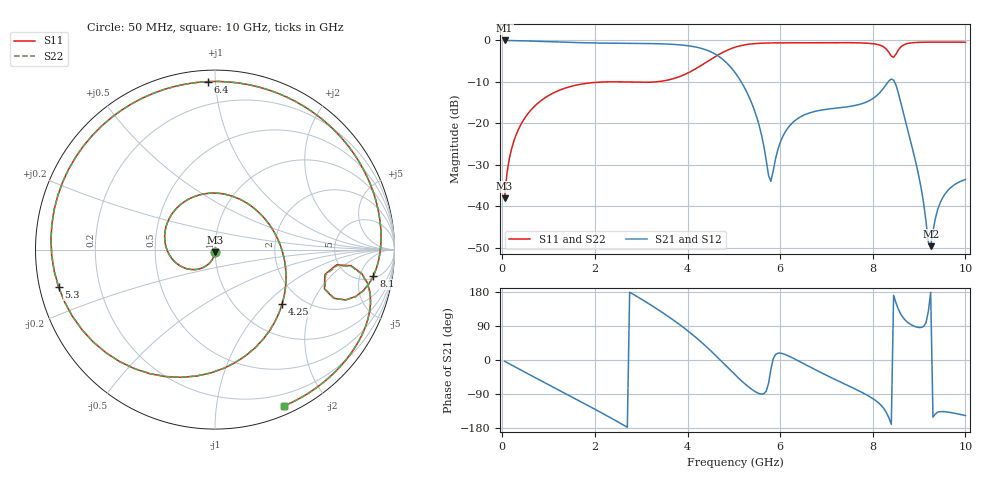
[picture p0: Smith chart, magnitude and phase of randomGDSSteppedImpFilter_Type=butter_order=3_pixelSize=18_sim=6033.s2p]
! freq	dB(S11)	phase(S11)	dB(S12)	phase(S12)
!  dB(S21)	phase(S21)	dB(S22)	phase(S22)
!S-par simulation data
#  GHz  S  DB  R 50
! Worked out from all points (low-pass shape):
!   200 points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, 50 MHz to 10 GHz, reference 50 ohm
!   highest |S21| = -0.01 dB at 50 MHz (marker M1); lowest = -49.6 dB at 9.25 GHz (marker M2)
!   |S21| within 3 dB of the highest: start of sweep to 4.55 GHz
!   lowest |S11| = -38.0 dB at 50 MHz (marker M3), VSWR 1.03, Z = 49.9 - j1.25 ohm
!   |S11| at or under -10 dB: start of sweep to 2.214 GHz; 2.58 GHz to 3.292 GHz (711.2 MHz wide, 24.2 % of centre)
!   |S22| runs from -38.0 to -0.4 dB; largest |S21 - S12| = 0
!   S11 on the Smith chart (normalised r, x): 50 MHz: 1.00, -0.03; 4.25 GHz: 1.58, -1.26; 5.3 GHz: 0.06, -0.12; 6.4 GHz: 0.06, +0.96; 8.1 GHz: 6, -8; 10 GHz: 0.08, -1.53
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0.05  -38.01 -92.4  -0.01 -3.4  -0.01 -3.4  -38.01 -92.4
0.2  -26.14 -103.1  -0.03 -13.3  -0.03 -13.3  -26.14 -103.1
0.5  -18.47 -123.3  -0.11 -32.9  -0.11 -32.9  -18.47 -123.3
1.15  -12.41 -165.6  -0.35 -75.0  -0.35 -75.0  -12.41 -165.6
1.75  -10.45 155.8  -0.56 -113.6  -0.56 -113.6  -10.45 155.8
2.65  -10.02 95.7  -0.69 -173.9  -0.69 -173.9  -10.02 95.6
3.4  -9.88 39.6  -0.81 130.0  -0.81 130.0  -9.88 39.6
4.25  -6.34 -39.1  -1.77 52.2  -1.77 52.2  -6.34 -39.2
4.6  -3.89 -79.7  -3.31 12.7  -3.31 12.7  -3.89 -79.8
5.05  -1.56 -136.5  -8.11 -41.8  -8.11 -41.8  -1.56 -136.6
5.3  -0.95 -166.6  -12.93 -69.2  -12.93 -69.2  -0.95 -166.7
5.8  -0.60 141.7  -33.96 -24.4  -33.96 -24.4  -0.60 141.6
6.4  -0.57 92.4  -18.68 -2.8  -18.68 -2.8  -0.57 92.3
6.7  -0.55 71.4  -17.25 -21.9  -17.25 -21.9  -0.55 71.3
7.4  -0.54 28.9  -16.07 -63.8  -16.07 -63.8  -0.54 28.8
8.1  -0.97 -9.4  -13.15 -110.6  -13.15 -110.6  -0.96 -9.4
8.35  -2.91 -22.3  -9.73 -153.1  -9.73 -153.1  -2.88 -22.2
8.55  -2.34 -6.8  -12.56 134.8  -12.56 134.8  -2.31 -7.0
8.85  -0.58 -24.4  -25.77 91.7  -25.77 91.7  -0.57 -24.6
9.25  -0.41 -41.6  -49.58 178.4  -49.58 178.4  -0.40 -41.7
9.5  -0.40 -50.5  -38.10 -136.1  -38.10 -136.1  -0.40 -50.6
10  -0.43 -66.2  -33.51 -146.6  -33.51 -146.6  -0.43 -66.3
